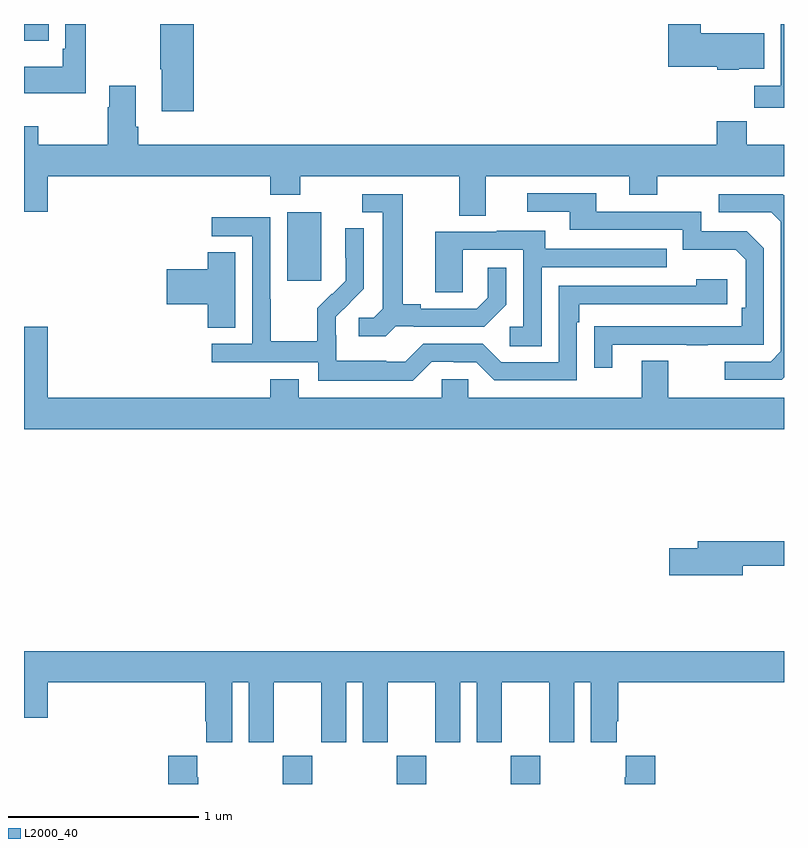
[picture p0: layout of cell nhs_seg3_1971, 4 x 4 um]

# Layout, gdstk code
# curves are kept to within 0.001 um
import gdstk
lib = gdstk.Library(unit=1e-6, precision=1e-09)
def R(c, l, rs):  # rectangles x0, y0, x1, y1
    for r in rs: c.add(gdstk.rectangle(r[:2], r[2:], *l))
def A(c, l, x, y, w, h, nx, ny, dx, dy):  # array of equal rectangles
    R(c, l, [(x+i*dx, y+j*dy, x+i*dx+w, y+j*dy+h) for i in range(nx) for j in range(ny)])
def P(c, l, *ps):  # polygons
    for p in ps: c.add(gdstk.Polygon(p, *l))
L2000_40 = (2000, 40)

nhs_seg3_1971 = lib.new_cell('nhs_seg3_1971')
A(nhs_seg3_1971, L2000_40, 214.363, 680.4, 0.155, 0.148, 3, 1, 0.6, 0)
R(nhs_seg3_1971, L2000_40, [(214.385,683.049,214.564,683.41), (213,684.311,213.131,684.4)])
P(nhs_seg3_1971, L2000_40, [(213.893,684.4),(213.718,684.4),(213.718,684.163),(213.725,684.163),(213.725,683.94),(213.893,683.94)],
  [(217,684.4),(216.983,684.4),(216.983,684.076),(216.844,684.076),(216.844,683.958),(217,683.958)],
  [(216.762,684.164),(216.895,684.164),(216.895,684.352),(216.562,684.352),(216.562,684.4),(216.392,684.4),(216.392,684.176),(216.648,684.176),(216.648,684.158),(216.762,684.158)],
  [(213.325,684.4),(213.216,684.4),(213.216,684.271),(213.204,684.271),(213.204,684.175),(213,684.175),(213,684.035),(213.325,684.035)],
  [(215.431,683.6),(216.185,683.6),(216.185,683.501),(216.333,683.501),(216.333,683.6),(217,683.6),(217,683.764),(216.803,683.764),(216.803,683.888),(216.647,683.888),(216.647,683.764),(213.602,683.764),(213.602,683.86),(213.589,683.86),(213.589,684.076),(213.449,684.076),(213.449,683.963),(213.442,683.963),(213.442,683.764),(213.075,683.764),(213.075,683.863),(213,683.863),(213,683.412),(213.124,683.412),(213.124,683.6),(214.295,683.6),(214.295,683.501),(214.455,683.501),(214.455,683.6),(215.291,683.6),(215.291,683.392),(215.431,683.392)],
  [(216.097,682.713),(216.487,682.713),(216.487,682.708),(216.599,682.708),(216.599,682.713),(216.894,682.713),(216.894,683.22),(216.804,683.31),(216.564,683.31),(216.564,683.412),(216.013,683.412),(216.013,683.508),(215.649,683.508),(215.649,683.412),(215.873,683.412),(215.873,683.316),(216.468,683.316),(216.468,683.213),(216.745,683.213),(216.798,683.16),(216.798,682.906),(216.778,682.906),(216.778,682.809),(216.001,682.808),(216.001,682.59),(216.097,682.59)],
  [(214.956,682.809),(215.05,682.809),(215.05,682.806),(215.422,682.806),(215.538,682.922),(215.538,683.116),(215.441,683.116),(215.441,682.959),(215.384,682.902),(215.089,682.902),(215.089,682.925),(214.993,682.925),(214.993,683.505),(214.779,683.505),(214.779,683.409),(214.889,683.409),(214.889,682.901),(214.842,682.854),(214.761,682.854),(214.761,682.757),(214.904,682.757)],
  [(217,682.54),(217,683.498),(216.993,683.505),(216.657,683.505),(216.657,683.409),(216.933,683.409),(216.984,683.358),(216.984,682.677),(216.93,682.623),(216.687,682.623),(216.687,682.527),(216.987,682.527)],
  [(215.145,682.623),(215.261,682.623),(215.261,682.62),(215.379,682.62),(215.475,682.524),(215.91,682.524),(215.91,682.829),(215.923,682.829),(215.923,682.926),(216.7,682.926),(216.7,683.056),(216.539,683.056),(216.539,683.022),(215.814,683.022),(215.814,682.62),(215.511,682.62),(215.415,682.716),(215.1,682.716),(215.007,682.623),(214.907,682.623),(214.907,682.627),(214.644,682.627),(214.644,682.761),(214.642,682.761),(214.642,682.858),(214.788,683.006),(214.788,683.324),(214.692,683.324),(214.692,683.17),(214.694,683.17),(214.694,683.048),(214.623,682.977),(214.62,682.98),(214.543,682.903),(214.543,682.729),(214.299,682.729),(214.299,682.952),(214.296,682.952),(214.296,683.382),(213.987,683.382),(213.987,683.283),(214.2,683.283),(214.2,682.716),(213.987,682.716),(213.987,682.62),(214.548,682.62),(214.548,682.523),(215.045,682.523)],
  [(215.724,683.121),(216.383,683.121),(216.383,683.217),(215.743,683.217),(215.743,683.311),(215.489,683.311),(215.489,683.307),(215.165,683.307),(215.165,682.987),(215.31,682.987),(215.31,683.211),(215.628,683.211),(215.628,682.806),(215.556,682.806),(215.556,682.705),(215.724,682.705)],
  [(214.111,683.198),(213.968,683.198),(213.968,683.108),(213.75,683.108),(213.75,682.925),(213.968,682.925),(213.968,682.801),(214.111,682.801)],
  [(217,682.432),(216.391,682.432),(216.391,682.627),(216.251,682.627),(216.251,682.432),(215.337,682.432),(215.337,682.53),(215.199,682.53),(215.199,682.432),(214.447,682.432),(214.447,682.531),(214.295,682.531),(214.295,682.432),(213.124,682.432),(213.124,682.807),(213,682.807),(213,682.268),(217,682.268)],
  [(216.784,681.549),(217,681.549),(217,681.677),(216.545,681.677),(216.545,681.641),(216.396,681.641),(216.396,681.499),(216.784,681.499)],
  [(214.096,680.936),(214.184,680.936),(214.184,680.619),(214.315,680.619),(214.315,680.936),(214.565,680.936),(214.565,680.619),(214.696,680.619),(214.696,680.936),(214.784,680.936),(214.784,680.619),(214.915,680.619),(214.915,680.936),(215.165,680.936),(215.165,680.619),(215.296,680.619),(215.296,680.936),(215.384,680.936),(215.384,680.619),(215.515,680.619),(215.515,680.936),(215.765,680.936),(215.765,680.619),(215.896,680.619),(215.896,680.936),(215.984,680.936),(215.984,680.619),(216.121,680.619),(216.121,680.731),(216.128,680.731),(216.128,680.936),(217,680.936),(217,681.1),(213,681.1),(213,680.748),(213.124,680.748),(213.124,680.936),(213.953,680.936),(213.953,680.731),(213.959,680.731),(213.959,680.619),(214.096,680.619)],
  [(213.918,680.435),(213.913,680.435),(213.913,680.548),(213.758,680.548),(213.758,680.4),(213.918,680.4)],
  [(216.323,680.548),(216.167,680.548),(216.167,680.435),(216.163,680.435),(216.163,680.4),(216.323,680.4)])

lib.write_gds('nhs_seg3_1971.gds')
